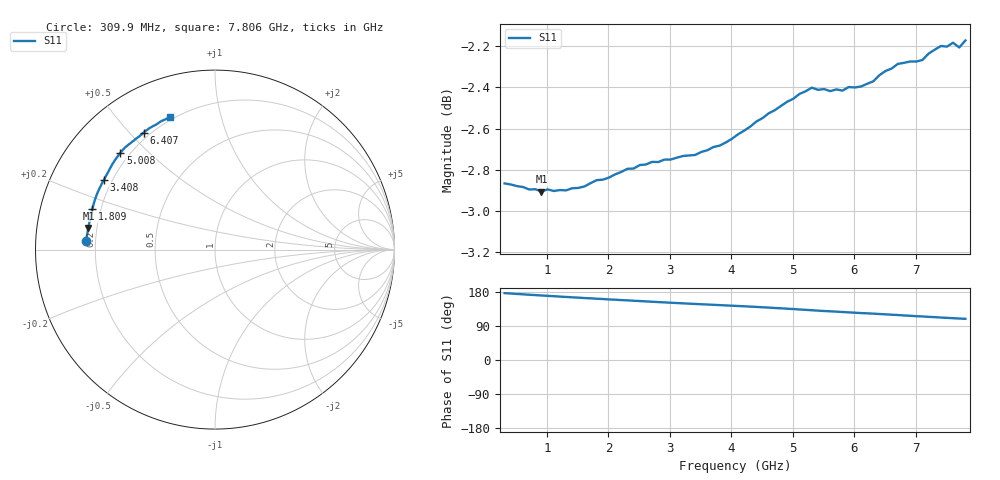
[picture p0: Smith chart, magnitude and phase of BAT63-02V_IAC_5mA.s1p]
! Infineon Technologies  Discrete & RF Semiconductors
! BAT63-02V
! IAC = 5 mA
! One-Port S-Parameters
# Hz  S  MA  R  50
!f  S11
!Hz  Mag  Ang
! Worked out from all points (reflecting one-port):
!   76 points, 309.9 MHz to 7.806 GHz, reference 50 ohm
!   lowest |S11| = -2.9 dB at 909.5 MHz (marker M1), VSWR 6.03, Z = 8.35 + j4.13 ohm
!   phase of S11 starts at 176 deg and turns -68 deg over the sweep
!   S11 on the Smith chart (normalised r, x): 309.9 MHz: 0.16, +0.03; 1.809 GHz: 0.17, +0.16; 3.408 GHz: 0.17, +0.28; 5.008 GHz: 0.16, +0.41; 6.407 GHz: 0.18, +0.55; 7.806 GHz: 0.19, +0.70
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3.0985e8  0.7189 176.4
9.0955e8  0.7157 170.3
1.30935e9  0.7161 166.4
1.8091e9  0.7202 161.7
1.90905e9  0.7204 161.0
2.009e9  0.7213 159.8
2.10895e9  0.7226 159.2
2.2089e9  0.7236 158.0
2.30885e9  0.7248 157.4
2.50875e9  0.7263 155.6
3.2084e9  0.73 149.5
3.4083e9  0.7304 147.9
4.10795e9  0.739 142.5
4.4078e9  0.7443 140.1
5.0075e9  0.7538 134.4
5.30735e9  0.7585 131.3
5.50725e9  0.7579 129.3
6.007e9  0.7586 124.8
6.4068e9  0.7638 121.4
6.70665e9  0.7686 118.7
6.90655e9  0.7697 116.7
7.0065e9  0.7696 115.6
7.10645e9  0.7703 115.0
7.2064e9  0.773 113.9
7.30635e9  0.7748 113.1
7.4063e9  0.7764 112.0
7.70615e9  0.7757 109.4
7.8061e9  0.7788 108.6
